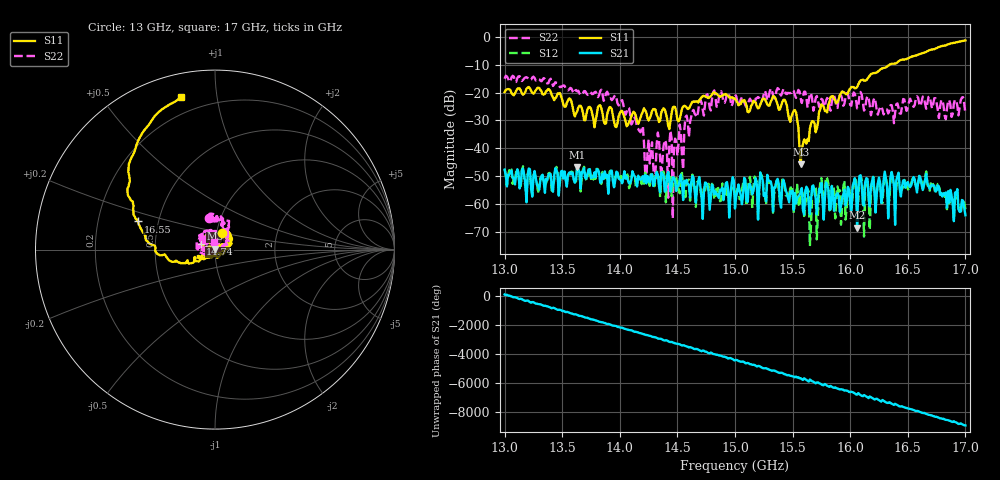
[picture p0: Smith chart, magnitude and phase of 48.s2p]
!Keysight Technologies,P9374A,MY57211807,A.19.30.04
!Date: Friday, May 01, 2026 14:15:14
!Correction: S11(C  2-Port  )
!S21(C  2-Port  )
!S12(C  2-Port  )
!S22(C  2-Port  )
!S2P File: Measurements: S11, S21, S12, S22:
# Hz S  RI  R 50
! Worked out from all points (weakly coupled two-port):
!   401 points, 13 GHz to 17 GHz, reference 50 ohm
!   highest |S21| = -46.71 dB at 13.63 GHz (marker M1); lowest = -68.6 dB at 16.06 GHz (marker M2)
!   lowest |S11| = -45.7 dB at 15.57 GHz (marker M3), VSWR 1.01, Z = 50.3 + j0.448 ohm
!   |S11| at or under -10 dB: start of sweep to 16.34 GHz
!   |S22| runs from -65.3 to -13.9 dB; largest |S21 - S12| = 0.0019
!   S11 on the Smith chart (normalised r, x): 13 GHz: 1.06, +0.20; 14.74 GHz: 0.85, +0.05; 16.55 GHz: 0.38, +0.15; 17 GHz: 0.11, +0.80
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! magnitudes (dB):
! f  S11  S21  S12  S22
! 13 GHz  -19.8  -47.7  -47.4  -15.0
! 13.38 GHz  -18.7  -49.5  -49.1  -16.5
! 13.63 GHz  -26.7  -46.7  -46.8  -19.5
! 13.67 GHz  -25.6  -48.6  -49.5  -20.6
! 14.02 GHz  -26.5  -52.6  -52.3  -22.7
! 14.18 GHz  -28.9  -51.3  -50.5  -34.3
! 14.24 GHz  -29.1  -50.0  -50.5  -41.8
! 14.34 GHz  -30.6  -53.7  -49.7  -36.9
! 14.44 GHz  -30.3  -55.6  -50.5  -33.6
! 14.58 GHz  -25.3  -51.4  -51.7  -28.2
! 14.74 GHz  -21.3  -52.3  -55.1  -24.2
! 15 GHz  -22.1  -61.7  -57.2  -20.6
! 15.43 GHz  -22.5  -52.8  -53.5  -18.8
! 15.53 GHz  -27.1  -59.9  -57.1  -21.9
! 15.57 GHz  -45.7  -55.8  -55.2  -22.1
! 15.67 GHz  -30.2  -53.7  -56.0  -22.3
! 15.79 GHz  -26.7  -52.3  -50.3  -22.8
! 15.94 GHz  -19.8  -56.6  -54.1  -24.7
! 16.06 GHz  -17.9  -68.6  -60.1  -25.6
! 16.34 GHz  -10.0  -55.9  -58.7  -26.5
! 16.55 GHz  -6.8  -50.3  -50.8  -25.1
! 17 GHz  -1.2  -64.1  -61.9  -27.5
